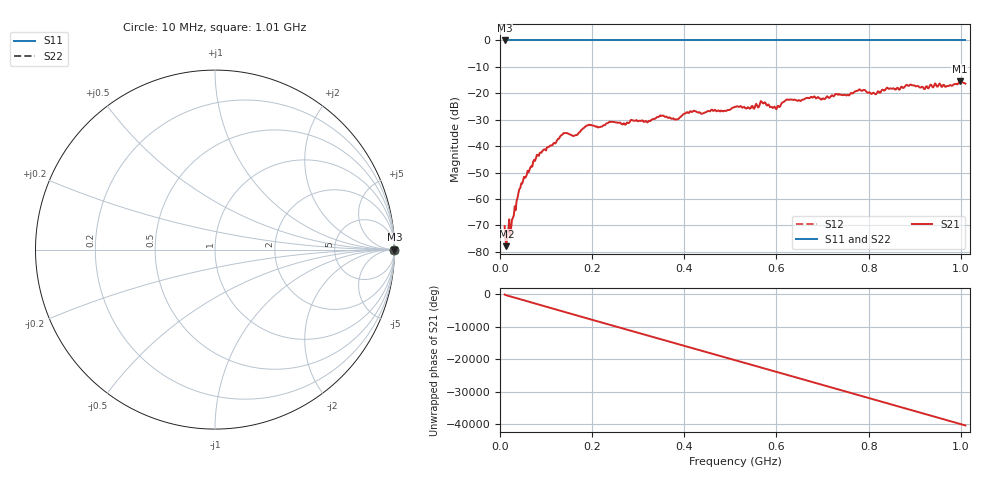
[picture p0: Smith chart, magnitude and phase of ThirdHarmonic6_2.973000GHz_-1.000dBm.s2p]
! 8/17/2025 8:25:28 AM
! C:\ANRITSUVNA\TEMP\TEMP.S2P
! CHANNEL.1
! TR.MEASUREMENT
! RAW.DATA
! RF.CORRECTION.OFF
! AVERAGING.OFF
! IF.BANDWIDTH: 5KHZ
! SWEEPTYPE:  FREQ.SWEEP(Linear)
! Reference Plane Port Info
! PORT:  PORT1  PORT2
! DISTANCE:  0  m  0  m
! TIME:  0  s  0  s
! PHASE.OFFSET:  0  deg.  0  deg.
! LOSS:  0  dB  0  dB
! REF.LOSS:  0  dB  0  dB
! REF.FREQ:  0  Hz  0  Hz
! Power Info
! POWER:  -20  dBm  -20  dBm
! EFF.POWER:  -20  dBm  -20  dBm
! SOURCE.ATTEN:  0  dB  0  dB
! TEST.ATTEN:  0  dB  0  dB
# GHZ S RI R 50.0
! FREQ.GHZ  S11RE  S11IM  S21RE  S21IM  S12RE  S12IM  S22RE  S22IM
!; PortSelection: Port_12
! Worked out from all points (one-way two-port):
!   501 points, 10 MHz to 1.01 GHz, reference 50 ohm
!   highest |S21| = -15.53 dB at 998 MHz (marker M1); lowest = -77.9 dB at 14 MHz (marker M2)
!   lowest |S11| = 0.0 dB at 10 MHz (marker M3)
!   |S11| at or under -10 dB: nowhere
!   |S22| runs from 0.0 to 0.0 dB; largest |S21 - S12| = 1.1
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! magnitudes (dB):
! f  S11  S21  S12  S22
! 10 MHz  0.0  -70.3  0.0  0.0
! 14 MHz  0.0  -77.9  0.0  0.0
! 26 MHz  0.0  -67.9  0.0  0.0
! 40 MHz  0.0  -57.8  0.0  0.0
! 48 MHz  0.0  -54.3  0.0  0.0
! 78 MHz  0.0  -44.6  0.0  0.0
! 136 MHz  0.0  -35.5  0.0  0.0
! 162 MHz  0.0  -36.0  0.0  0.0
! 178 MHz  0.0  -33.7  0.0  0.0
! 344 MHz  0.0  -29.0  0.0  0.0
! 384 MHz  0.0  -29.9  0.0  0.0
! 416 MHz  0.0  -27.1  0.0  0.0
! 510 MHz  0.0  -25.1  0.0  0.0
! 570 MHz  0.0  -23.7  0.0  0.0
! 596 MHz  0.0  -25.0  0.0  0.0
! 624 MHz  0.0  -22.3  0.0  0.0
! 678 MHz  0.0  -21.7  0.0  0.0
! 780 MHz  0.0  -18.5  0.0  0.0
! 814 MHz  0.0  -20.3  0.0  0.0
! 844 MHz  0.0  -18.4  0.0  0.0
! 998 MHz  0.0  -15.5  0.0  0.0
! 1.01 GHz  0.0  -16.4  0.0  0.0
